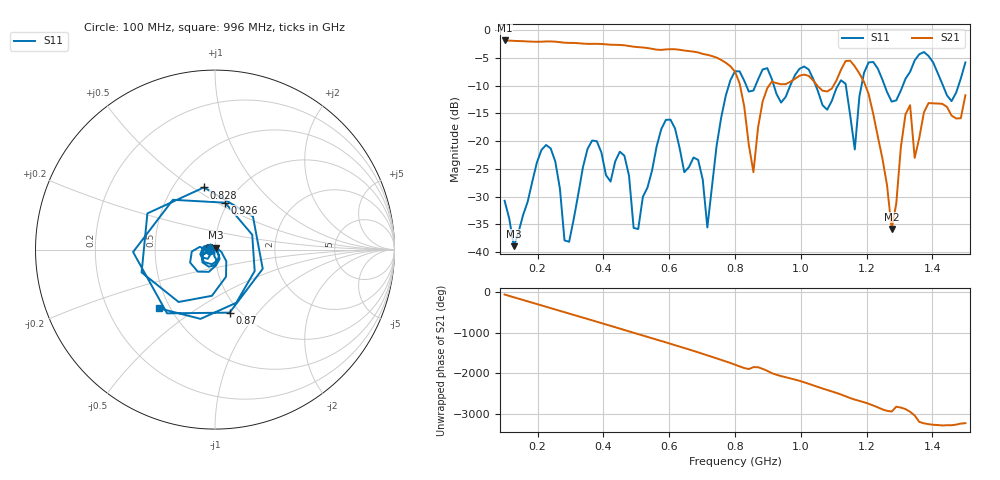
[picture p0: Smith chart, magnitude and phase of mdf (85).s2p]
! NanoVNA-App
! Date: 2025-09-25 15:39:05
! Start: 100MHz Stop: 1,5GHz Points: 101
! S-Parameter data: F S11 S21 S12 S22
# Hz S RI R 50
!  Frequency  S11_Real  S11_Imag  S21_Real  S21_Imag  S12_Real  S12_Imag  S22_Real  S22_Imag
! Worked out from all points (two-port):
!   101 points, 100 MHz to 1.5 GHz, reference 50 ohm
!   highest |S21| = -1.80 dB at 100 MHz (marker M1); lowest = -35.9 dB at 1.276 GHz (marker M2)
!   |S21| within 3 dB of the highest: start of sweep to 739.2 MHz
!   lowest |S11| = -39.0 dB at 128 MHz (marker M3), VSWR 1.02, Z = 50.3 + j1.08 ohm
!   |S11| at or under -10 dB: start of sweep to 780.9 MHz; 1.046 GHz to 1.112 GHz (66.69 MHz wide, 6.18 % of centre); 1.255 GHz to 1.31 GHz (54.63 MHz wide, 4.26 % of centre) (the widest 3 of 7)
!   S12 and S22 are empty: the file has one direction only
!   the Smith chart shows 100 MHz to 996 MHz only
!   S11 on the Smith chart (normalised r, x): 100 MHz: 0.94, -0.01; 828 MHz: 0.70, +0.56; 870 MHz: 0.90, -0.73; 926 MHz: 0.97, +0.55; 996 MHz: 0.44, -0.36
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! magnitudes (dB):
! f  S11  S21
! 100 MHz  -30.8  -1.8
! 128 MHz  -39.0  -1.9
! 212 MHz  -21.6  -2.0
! 282 MHz  -37.9  -2.2
! 338 MHz  -24.7  -2.4
! 464 MHz  -22.6  -2.7
! 506 MHz  -35.9  -3.0
! 576 MHz  -17.8  -3.5
! 716 MHz  -35.6  -4.4
! 800 MHz  -7.4  -7.5
! 828 MHz  -9.1  -13.7
! 856 MHz  -10.9  -25.6
! 870 MHz  -8.9  -17.6
! 926 MHz  -11.5  -9.5
! 996 MHz  -6.9  -8.2
! 1.038 GHz  -8.8  -9.1
! 1.164 GHz  -21.5  -6.5
! 1.192 GHz  -7.7  -9.3
! 1.276 GHz  -12.9  -35.9
! 1.332 GHz  -7.5  -13.5
! 1.346 GHz  -5.4  -23.0
! 1.5 GHz  -5.8  -11.7
